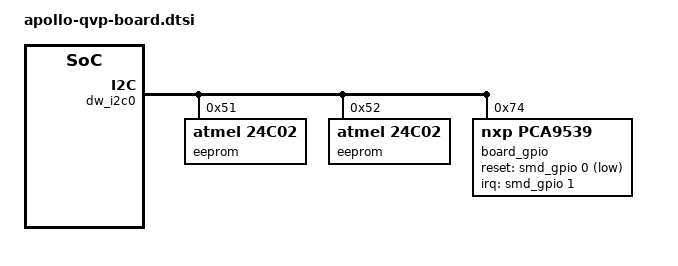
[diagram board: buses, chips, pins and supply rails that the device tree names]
// SPDX-License-Identifier: (GPL-2.0 OR BSD-3-Clause)

#include <dt-bindings/gpio/gpio.h>

/* TPS6594 devices and their regulators/GPIO are owned by SI CL0 firmware. */
/ {
	aliases {
		rtc0 = &{/soc/rtc@300d0000};
	};
};

&dw_i2c0 {
	/* Three independent 24C02 targets share this controller. */
	eeprom@51 {
		compatible = "atmel,24c02";
		reg = <0x51>;
		pagesize = <8>;
	};

	eeprom@52 {
		compatible = "atmel,24c02";
		reg = <0x52>;
		pagesize = <8>;
	};

	board_gpio: gpio@74 {
		compatible = "nxp,pca9539";
		reg = <0x74>;
		gpio-controller;
		#gpio-cells = <2>;
		interrupt-controller;
		#interrupt-cells = <2>;
		interrupt-parent = <&smd_gpio>;
		interrupts = <1 IRQ_TYPE_LEVEL_LOW>;
		reset-gpios = <&smd_gpio 0 GPIO_ACTIVE_LOW>;
		gpio-line-names =
			"pca9539-loop-out0", "pca9539-loop-in1",
			"pca9539-gpio2", "pca9539-gpio3",
			"pca9539-gpio4", "pca9539-gpio5",
			"pca9539-gpio6", "pca9539-gpio7",
			"pca9539-loop-out8", "pca9539-loop-in9",
			"pca9539-gpio10", "pca9539-gpio11",
			"pca9539-gpio12", "pca9539-gpio13",
			"pca9539-gpio14", "pca9539-gpio15";
	};
};
